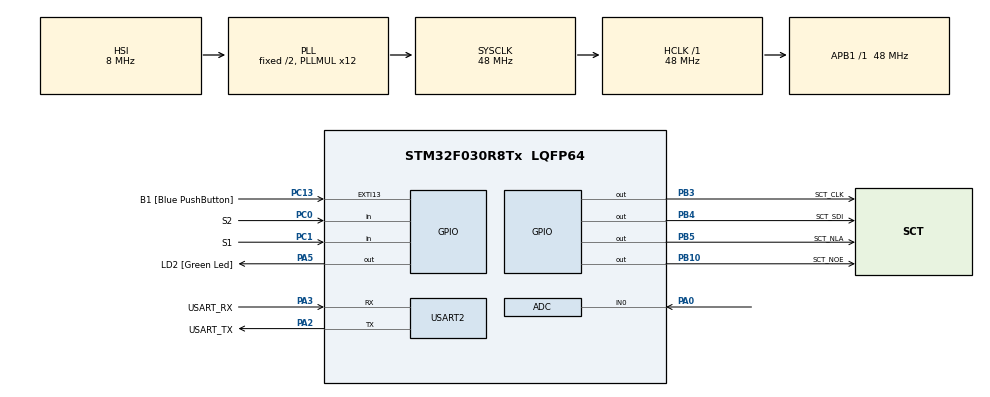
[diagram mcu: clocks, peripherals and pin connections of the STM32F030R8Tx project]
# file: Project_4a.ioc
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ADC.ContinuousConvMode=ENABLE
ADC.Overrun=ADC_OVR_DATA_OVERWRITTEN
ADC.SamplingTime=ADC_SAMPLETIME_239CYCLES_5
Mcu.Family=STM32F0
Mcu.Name=STM32F030R8Tx
Mcu.Package=LQFP64
NVIC.ADC1_IRQn=true\:0\:0\:false\:false\:true\:true\:true\:true
PA0.Mode=IN0
PA0.Signal=ADC_IN0
PA13.GPIO_Label=TMS
PA13.Mode=Serial_Wire
PA13.Signal=SYS_SWDIO
PA14.GPIO_Label=TCK
PA14.Mode=Serial_Wire
PA14.Signal=SYS_SWCLK
PA2.GPIO_Label=USART_TX
PA2.GPIO_Mode=GPIO_MODE_AF_PP
PA2.GPIO_PuPd=GPIO_NOPULL
PA2.GPIO_Speed=GPIO_SPEED_FREQ_LOW
PA2.Mode=Asynchronous
PA2.Signal=USART2_TX
PA3.GPIO_Label=USART_RX
PA3.GPIO_Mode=GPIO_MODE_AF_PP
PA3.GPIO_PuPd=GPIO_NOPULL
PA3.GPIO_Speed=GPIO_SPEED_FREQ_LOW
PA3.Mode=Asynchronous
PA3.Signal=USART2_RX
PA5.GPIO_Label=LD2 [Green Led]
PA5.GPIO_Mode=GPIO_MODE_OUTPUT_PP
PA5.GPIO_PuPd=GPIO_NOPULL
PA5.GPIO_Speed=GPIO_SPEED_FREQ_LOW
PA5.Signal=GPIO_Output
PB10.GPIO_Label=SCT_NOE
PB10.Signal=GPIO_Output
PB3.GPIO_Label=SCT_CLK
PB3.Signal=GPIO_Output
PB4.GPIO_Label=SCT_SDI
PB4.Signal=GPIO_Output
PB5.GPIO_Label=SCT_NLA
PB5.Signal=GPIO_Output
PC0.GPIO_Label=S2
PC0.GPIO_PuPd=GPIO_PULLUP
PC0.Signal=GPIO_Input
PC1.GPIO_Label=S1
PC1.GPIO_PuPd=GPIO_PULLUP
PC1.Signal=GPIO_Input
PC13.GPIO_Label=B1 [Blue PushButton]
PC13.GPIO_ModeDefaultEXTI=GPIO_MODE_IT_FALLING
PC13.Signal=GPXTI13
PC14-OSC32_IN.Mode=LSE-External-Oscillator
PC14-OSC32_IN.Signal=RCC_OSC32_IN
PC15-OSC32_OUT.Mode=LSE-External-Oscillator
PC15-OSC32_OUT.Signal=RCC_OSC32_OUT
PF0-OSC_IN.Mode=HSE-External-Clock-Source
PF0-OSC_IN.Signal=RCC_OSC_IN
PF1-OSC_OUT.Signal=RCC_OSC_OUT
ProjectManager.HeapSize=0x200
ProjectManager.StackSize=0x400
ProjectManager.TargetToolchain=STM32CubeIDE
RCC.AHBFreq_Value=48000000
RCC.APB1Freq_Value=48000000
RCC.APB1TimFreq_Value=48000000
RCC.HCLKFreq_Value=48000000
RCC.PLLMUL=RCC_PLL_MUL12
RCC.SYSCLKFreq_VALUE=48000000
RCC.SYSCLKSource=RCC_SYSCLKSOURCE_PLLCLK
USART2.VirtualMode-Asynchronous=VM_ASYNC
VP_ADC_TempSens_Input.Mode=IN-TempSens
VP_ADC_Vref_Input.Mode=IN-Vrefint
board=NUCLEO-F030R8

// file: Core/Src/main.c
/* USER CODE BEGIN Header */
/**
 ******************************************************************************
 * @file           : main.c
 * @brief          : Main program body
 ******************************************************************************
 * @attention
 *
 * Copyright (c) 2024 STMicroelectronics.
 * All rights reserved.
 *
 * This software is licensed under terms that can be found in the LICENSE file
 * in the root directory of this software component.
 * If no LICENSE file comes with this software, it is provided AS-IS.
 *
 ******************************************************************************
 */
/* USER CODE END Header */
#include "main.h"

/* USER CODE BEGIN Includes */
#include "sct.h"
/* USER CODE END Includes */

/* USER CODE BEGIN PD */
#define ADC_Q 12;

#define TEMP110_CAL_ADDR ((uint16_t*) ((uint32_t) 0x1FFFF7C2))
#define TEMP30_CAL_ADDR ((uint16_t*) ((uint32_t) 0x1FFFF7B8))
/* Internal voltage reference calibration value address */
#define VREFINT_CAL_ADDR ((uint16_t*) ((uint32_t) 0x1FFFF7BA))
/* USER CODE END PD */

ADC_HandleTypeDef hadc;

UART_HandleTypeDef huart2;

/* USER CODE BEGIN PV */

static volatile uint32_t raw_pot;
static volatile uint32_t raw_volt;
static volatile uint32_t raw_temp;
/* USER CODE END PV */

void SystemClock_Config(void);
static void MX_GPIO_Init(void);
static void MX_USART2_UART_Init(void);
static void MX_ADC_Init(void);

/* USER CODE BEGIN 0 */
void HAL_ADC_ConvCpltCallback(ADC_HandleTypeDef* hadc)
{
	/*raw_pot = HAL_ADC_GetValue(hadc);
	 *
	 */

	static uint8_t channel = 0;
	static uint32_t avg_pot;

	switch (channel){
	case 0: //INO -POTENTIOMETER

		raw_pot = avg_pot >> ADC_Q;
		avg_pot -= raw_pot;
		avg_pot += HAL_ADC_GetValue(hadc);

		break;

	case 1: // TEMPERATURE

		raw_temp = HAL_ADC_GetValue(hadc);

		break;

	case 2: //VOLTAGE

		raw_volt = HAL_ADC_GetValue(hadc);

		break;

	default:

		break;

	}

	if (__HAL_ADC_GET_FLAG(hadc, ADC_FLAG_EOS)) channel = 0;
	else channel++;

	//channel++;
	//if(channel>=3) channel=0;

}
/* USER CODE END 0 */

int main(void)
{

	/* MCU Configuration--------------------------------------------------------*/

	/* Reset of all peripherals, Initializes the Flash interface and the Systick. */
	HAL_Init();

	/* Configure the system clock */
	SystemClock_Config();

	/* Initialize all configured peripherals */
	MX_GPIO_Init();
	MX_USART2_UART_Init();
	MX_ADC_Init();
	/* USER CODE BEGIN 2 */
	HAL_ADCEx_Calibration_Start(&hadc);
	HAL_ADC_Start_IT(&hadc);
	sct_init();
	/* USER CODE END 2 */

	/* Infinite loop */
	/* USER CODE BEGIN WHILE */
	while (1)
	{
		//sct_value((raw_pot * 500.5) / 4095);

		//HAL_Delay(50);
		uint32_t pot = (raw_pot * 500.5) / 4095;
		static uint32_t time;

		static enum { SHOW_POT, SHOW_VOLT, SHOW_TEMP } state = SHOW_POT;

		if (HAL_GPIO_ReadPin(S2_GPIO_Port, S2_Pin) == 0) {
			state = SHOW_TEMP;
			time = HAL_GetTick();
		}

		if (HAL_GPIO_ReadPin(S1_GPIO_Port, S1_Pin) == 0) {
			state = SHOW_VOLT;
			time = HAL_GetTick();
		}

		if (HAL_GetTick() > (time + 1000)){
			state = SHOW_POT;
		}

		switch (state){
		case SHOW_POT:
			sct_value(pot);

			break;

		case SHOW_VOLT:
			uint32_t voltage = 330 * (*VREFINT_CAL_ADDR) / raw_volt;

			sct_value(voltage);

			break;

		case SHOW_TEMP:

			int32_t temperature = (raw_temp - (int32_t)(*TEMP30_CAL_ADDR));
			temperature = temperature * (int32_t)(110 - 30);
			temperature = temperature / (int32_t)(*TEMP110_CAL_ADDR - *TEMP30_CAL_ADDR);
			temperature = temperature + 30;

			sct_value(temperature);

			break;

		default:

			break;

		}

		HAL_Delay(50);

		/* USER CODE END WHILE */

	}
}

void SystemClock_Config(void)
{
	RCC_OscInitTypeDef RCC_OscInitStruct = {0};
	RCC_ClkInitTypeDef RCC_ClkInitStruct = {0};

	/** Initializes the RCC Oscillators according to the specified parameters
	 * in the RCC_OscInitTypeDef structure.
	 */
	RCC_OscInitStruct.OscillatorType = RCC_OSCILLATORTYPE_HSI|RCC_OSCILLATORTYPE_HSI14;
	RCC_OscInitStruct.HSIState = RCC_HSI_ON;
	RCC_OscInitStruct.HSI14State = RCC_HSI14_ON;
	RCC_OscInitStruct.HSICalibrationValue = RCC_HSICALIBRATION_DEFAULT;
	RCC_OscInitStruct.HSI14CalibrationValue = 16;
	RCC_OscInitStruct.PLL.PLLState = RCC_PLL_ON;
	RCC_OscInitStruct.PLL.PLLSource = RCC_PLLSOURCE_HSI;
	RCC_OscInitStruct.PLL.PLLMUL = RCC_PLL_MUL12;
	RCC_OscInitStruct.PLL.PREDIV = RCC_PREDIV_DIV1;
	if (HAL_RCC_OscConfig(&RCC_OscInitStruct) != HAL_OK)
	{
		Error_Handler();
	}

	/** Initializes the CPU, AHB and APB buses clocks
	 */
	RCC_ClkInitStruct.ClockType = RCC_CLOCKTYPE_HCLK|RCC_CLOCKTYPE_SYSCLK
			|RCC_CLOCKTYPE_PCLK1;
	RCC_ClkInitStruct.SYSCLKSource = RCC_SYSCLKSOURCE_PLLCLK;
	RCC_ClkInitStruct.AHBCLKDivider = RCC_SYSCLK_DIV1;
	RCC_ClkInitStruct.APB1CLKDivider = RCC_HCLK_DIV1;

	if (HAL_RCC_ClockConfig(&RCC_ClkInitStruct, FLASH_LATENCY_1) != HAL_OK)
	{
		Error_Handler();
	}
}

static void MX_ADC_Init(void)
{

	ADC_ChannelConfTypeDef sConfig = {0};

	/** Configure the global features of the ADC (Clock, Resolution, Data Alignment and number of conversion)
	 */
	hadc.Instance = ADC1;
	hadc.Init.ClockPrescaler = ADC_CLOCK_ASYNC_DIV1;
	hadc.Init.Resolution = ADC_RESOLUTION_12B;
	hadc.Init.DataAlign = ADC_DATAALIGN_RIGHT;
	hadc.Init.ScanConvMode = ADC_SCAN_DIRECTION_FORWARD;
	hadc.Init.EOCSelection = ADC_EOC_SINGLE_CONV;
	hadc.Init.LowPowerAutoWait = DISABLE;
	hadc.Init.LowPowerAutoPowerOff = DISABLE;
	hadc.Init.ContinuousConvMode = ENABLE;
	hadc.Init.DiscontinuousConvMode = DISABLE;
	hadc.Init.ExternalTrigConv = ADC_SOFTWARE_START;
	hadc.Init.ExternalTrigConvEdge = ADC_EXTERNALTRIGCONVEDGE_NONE;
	hadc.Init.DMAContinuousRequests = DISABLE;
	hadc.Init.Overrun = ADC_OVR_DATA_OVERWRITTEN;
	if (HAL_ADC_Init(&hadc) != HAL_OK)
	{
		Error_Handler();
	}

	/** Configure for the selected ADC regular channel to be converted.
	 */
	sConfig.Channel = ADC_CHANNEL_0;
	sConfig.Rank = ADC_RANK_CHANNEL_NUMBER;
	sConfig.SamplingTime = ADC_SAMPLETIME_239CYCLES_5;
	if (HAL_ADC_ConfigChannel(&hadc, &sConfig) != HAL_OK)
	{
		Error_Handler();
	}

	/** Configure for the selected ADC regular channel to be converted.
	 */
	sConfig.Channel = ADC_CHANNEL_TEMPSENSOR;
	if (HAL_ADC_ConfigChannel(&hadc, &sConfig) != HAL_OK)
	{
		Error_Handler();
	}

	/** Configure for the selected ADC regular channel to be converted.
	 */
	sConfig.Channel = ADC_CHANNEL_VREFINT;
	if (HAL_ADC_ConfigChannel(&hadc, &sConfig) != HAL_OK)
	{
		Error_Handler();
	}

}

static void MX_USART2_UART_Init(void)
{

	huart2.Instance = USART2;
	huart2.Init.BaudRate = 38400;
	huart2.Init.WordLength = UART_WORDLENGTH_8B;
	huart2.Init.StopBits = UART_STOPBITS_1;
	huart2.Init.Parity = UART_PARITY_NONE;
	huart2.Init.Mode = UART_MODE_TX_RX;
	huart2.Init.HwFlowCtl = UART_HWCONTROL_NONE;
	huart2.Init.OverSampling = UART_OVERSAMPLING_16;
	huart2.Init.OneBitSampling = UART_ONE_BIT_SAMPLE_DISABLE;
	huart2.AdvancedInit.AdvFeatureInit = UART_ADVFEATURE_NO_INIT;
	if (HAL_UART_Init(&huart2) != HAL_OK)
	{
		Error_Handler();
	}

}

static void MX_GPIO_Init(void)
{
	GPIO_InitTypeDef GPIO_InitStruct = {0};

	/* GPIO Ports Clock Enable */
	__HAL_RCC_GPIOC_CLK_ENABLE();
	__HAL_RCC_GPIOF_CLK_ENABLE();
	__HAL_RCC_GPIOA_CLK_ENABLE();
	__HAL_RCC_GPIOB_CLK_ENABLE();

	/*Configure GPIO pin Output Level */
	HAL_GPIO_WritePin(LD2_GPIO_Port, LD2_Pin, GPIO_PIN_RESET);

	/*Configure GPIO pin Output Level */
	HAL_GPIO_WritePin(GPIOB, SCT_NOE_Pin|SCT_CLK_Pin|SCT_SDI_Pin|SCT_NLA_Pin, GPIO_PIN_RESET);

	/*Configure GPIO pin : B1_Pin */
	GPIO_InitStruct.Pin = B1_Pin;
	GPIO_InitStruct.Mode = GPIO_MODE_IT_FALLING;
	GPIO_InitStruct.Pull = GPIO_NOPULL;
	HAL_GPIO_Init(B1_GPIO_Port, &GPIO_InitStruct);

	/*Configure GPIO pins : S2_Pin S1_Pin */
	GPIO_InitStruct.Pin = S2_Pin|S1_Pin;
	GPIO_InitStruct.Mode = GPIO_MODE_INPUT;
	GPIO_InitStruct.Pull = GPIO_PULLUP;
	HAL_GPIO_Init(GPIOC, &GPIO_InitStruct);

	/*Configure GPIO pin : LD2_Pin */
	GPIO_InitStruct.Pin = LD2_Pin;
	GPIO_InitStruct.Mode = GPIO_MODE_OUTPUT_PP;
	GPIO_InitStruct.Pull = GPIO_NOPULL;
	GPIO_InitStruct.Speed = GPIO_SPEED_FREQ_LOW;
	HAL_GPIO_Init(LD2_GPIO_Port, &GPIO_InitStruct);

	/*Configure GPIO pins : SCT_NOE_Pin SCT_CLK_Pin SCT_SDI_Pin SCT_NLA_Pin */
	GPIO_InitStruct.Pin = SCT_NOE_Pin|SCT_CLK_Pin|SCT_SDI_Pin|SCT_NLA_Pin;
	GPIO_InitStruct.Mode = GPIO_MODE_OUTPUT_PP;
	GPIO_InitStruct.Pull = GPIO_NOPULL;
	GPIO_InitStruct.Speed = GPIO_SPEED_FREQ_LOW;
	HAL_GPIO_Init(GPIOB, &GPIO_InitStruct);

}

void Error_Handler(void)
{
	__disable_irq();
	while (1)
	{
	}
}
